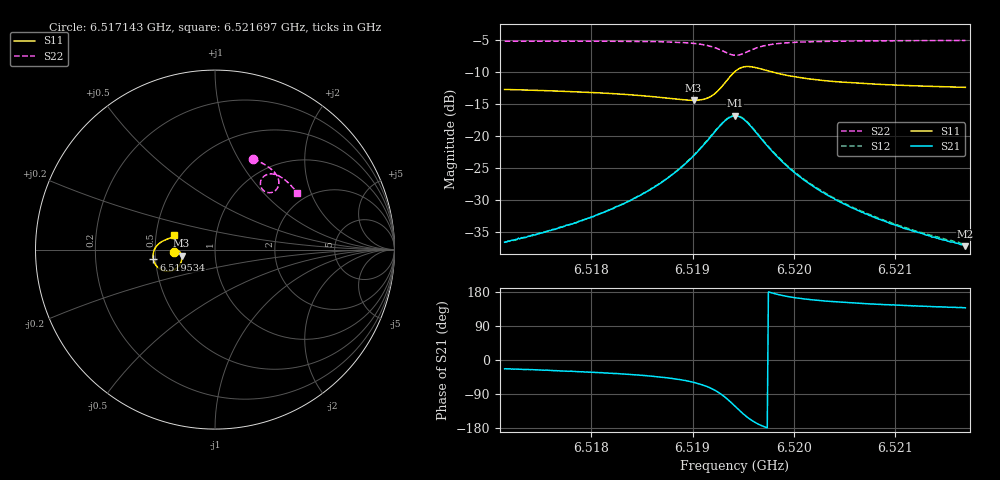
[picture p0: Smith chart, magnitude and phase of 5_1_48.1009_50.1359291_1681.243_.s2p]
#  HZ  S  RI  R  50.00
! Rohde & Schwarz Vector Network Analyzer
! Rohde-Schwarz,ZNB20-2Port,1311601062101988,3.16
! Created: UTC 12/23/2023, 3:35:05 AM
! freq[Hz]  re:S11  im:S11  re:S21  im:S21  re:S12  im:S12  re:S22  im:S22
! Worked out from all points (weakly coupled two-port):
!   401 points, 6.517143 GHz to 6.521697 GHz, reference 50 ohm
!   highest |S21| = -16.87 dB at 6.51942 GHz (marker M1); lowest = -37.3 dB at 6.521697 GHz (marker M2)
!   lowest |S11| = -14.5 dB at 6.51901 GHz (marker M3), VSWR 1.47, Z = 34.2 - j2.46 ohm
!   |S11| at or under -10 dB: start of sweep to 6.519417 GHz; 6.519781 GHz to end of sweep
!   |S22| runs from -7.4 to -5.1 dB; largest |S21 - S12| = 0.0045
!   S11 on the Smith chart (normalised r, x): 6.517143 GHz: 0.63, -0.02; 6.519534 GHz: 0.49, -0.06; 6.521697 GHz: 0.62, +0.10
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6.517143e9  -0.2299 -0.014  0.0135 -0.00583  0.0138 -0.00519  0.2142 0.5052
6.5174162e9  -0.2268 -0.00996  0.0152 -0.00712  0.0151 -0.00669  0.2343 0.4964
6.5179058e9  -0.2196 -0.00435  0.0186 -0.0112  0.0189 -0.0106  0.2705 0.4778
6.5183042e9  -0.2113 -0.00299  0.0232 -0.0174  0.0239 -0.0167  0.3006 0.4584
6.5186685e9  -0.2 -0.00841  0.0299 -0.0293  0.0309 -0.0286  0.3289 0.4335
6.518862e9  -0.192 -0.0185  0.0341 -0.0423  0.0356 -0.0416  0.344 0.4139
6.51901e9  -0.1862 -0.0347  0.036 -0.0595  0.038 -0.0589  0.3536 0.3921
6.5191239e9  -0.1858 -0.0565  0.0326 -0.081  0.0352 -0.0805  0.356 0.3685
6.5192036e9  -0.1931 -0.0789  0.0226 -0.1012  0.0258 -0.1012  0.3505 0.3476
6.5193288e9  -0.2371 -0.1166  -0.0222 -0.1308  -0.0187 -0.1323  0.3159 0.3185
6.5193743e9  -0.2661 -0.1206  -0.049 -0.1314  -0.0455 -0.1339  0.2949 0.3176
6.5194199e9  -0.297 -0.1133  -0.076 -0.1216  -0.073 -0.1247  0.274 0.3263
6.5194768e9  -0.3283 -0.088  -0.1009 -0.096  -0.0991 -0.0997  0.2567 0.3479
6.5195337e9  -0.3435 -0.0546  -0.1108 -0.0654  -0.1098 -0.0692  0.2531 0.3733
6.5196476e9  -0.3378 -0.000488  -0.0998 -0.0197  -0.1001 -0.0228  0.2722 0.4083
6.5197614e9  -0.3179 0.028  -0.0797 0.00149  -0.0805 -0.000702  0.2981 0.4204
6.5199663e9  -0.2893 0.0484  -0.0534 0.013  -0.0544 0.0116  0.3337 0.419
6.5201826e9  -0.2708 0.0564  -0.0381 0.0147  -0.039 0.0138  0.3592 0.4088
6.5205355e9  -0.253 0.0631  -0.0249 0.0136  -0.0256 0.013  0.3894 0.3887
6.5209454e9  -0.2408 0.069  -0.0171 0.0117  -0.0178 0.0115  0.4164 0.3642
6.5213324e9  -0.2323 0.0742  -0.013 0.0103  -0.0135 0.0102  0.4381 0.3407
6.5216967e9  -0.2258 0.0792  -0.0102 0.00922  -0.0107 0.00915  0.4563 0.3181
